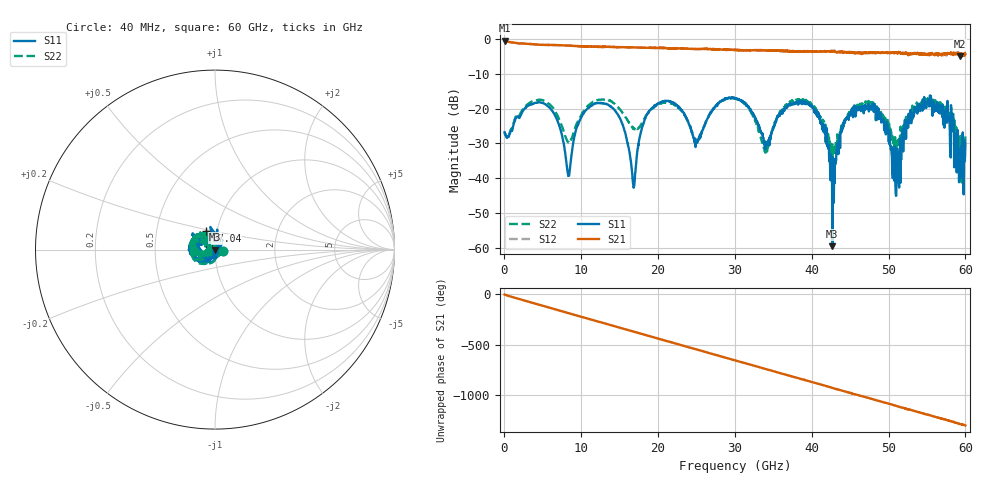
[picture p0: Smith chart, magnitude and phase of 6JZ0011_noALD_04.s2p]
! File created by 'SoftPlot +Plus+ Measurement Management Software'
! SoftPlot +Plus+ Measurement Management Software
! Start 40.000000 MHz  Stop 60.000000 GHz  Points 1601
# MHZ S RI R 50
! S-Parameter data, F S11 S21 S12 S22
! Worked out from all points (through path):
!   1601 points, 40 MHz to 60 GHz, reference 50 ohm
!   highest |S21| = -0.45 dB at 40 MHz (marker M1); lowest = -5.0 dB at 59.33 GHz (marker M2)
!   group delay of S21, straight-line fit = 60.1 ps
!   lowest |S11| = -59.5 dB at 42.69 GHz (marker M3), VSWR 1.00, Z = 49.9 + j0.0418 ohm
!   |S11| at or under -10 dB: start of sweep to end of sweep
!   |S22| runs from -41.2 to -16.9 dB; largest |S21 - S12| = 0.073
!   S11 on the Smith chart (normalised r, x): 40 MHz: 1.09, -0.02; 57.04 GHz: 0.89, +0.18; 60 GHz: 0.98, -0.06
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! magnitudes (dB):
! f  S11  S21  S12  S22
! 40 MHz  -26.8  -0.5  -0.4  -26.8
! 5.249 GHz  -18.6  -1.7  -1.7  -17.8
! 8.359 GHz  -39.0  -1.9  -1.9  -29.6
! 10.05 GHz  -22.4  -2.1  -2.1  -21.8
! 14.28 GHz  -20.2  -2.3  -2.3  -18.5
! 16.83 GHz  -42.8  -2.4  -2.4  -25.6
! 18.18 GHz  -23.7  -2.5  -2.5  -23.1
! 20.05 GHz  -18.5  -2.6  -2.5  -18.8
! 25 GHz  -29.6  -2.9  -2.9  -29.7
! 30.02 GHz  -17.1  -3.1  -3.1  -17.1
! 33.99 GHz  -31.7  -3.3  -3.2  -32.5
! 36.69 GHz  -19.5  -3.5  -3.4  -18.9
! 40.03 GHz  -19.3  -3.5  -3.6  -18.8
! 41.71 GHz  -27.2  -3.5  -3.4  -24.4
! 42.69 GHz  -59.5  -3.6  -3.4  -30.3
! 45.31 GHz  -20.9  -4.0  -3.9  -19.9
! 50.03 GHz  -29.6  -3.9  -3.8  -25.9
! 51.16 GHz  -33.8  -4.2  -3.9  -29.3
! 53.67 GHz  -20.1  -4.2  -4.2  -18.3
! 57.04 GHz  -19.0  -4.3  -4.3  -20.5
! 59.33 GHz  -39.7  -5.0  -4.2  -28.0
! 60 GHz  -30.1  -4.3  -5.0  -28.0
